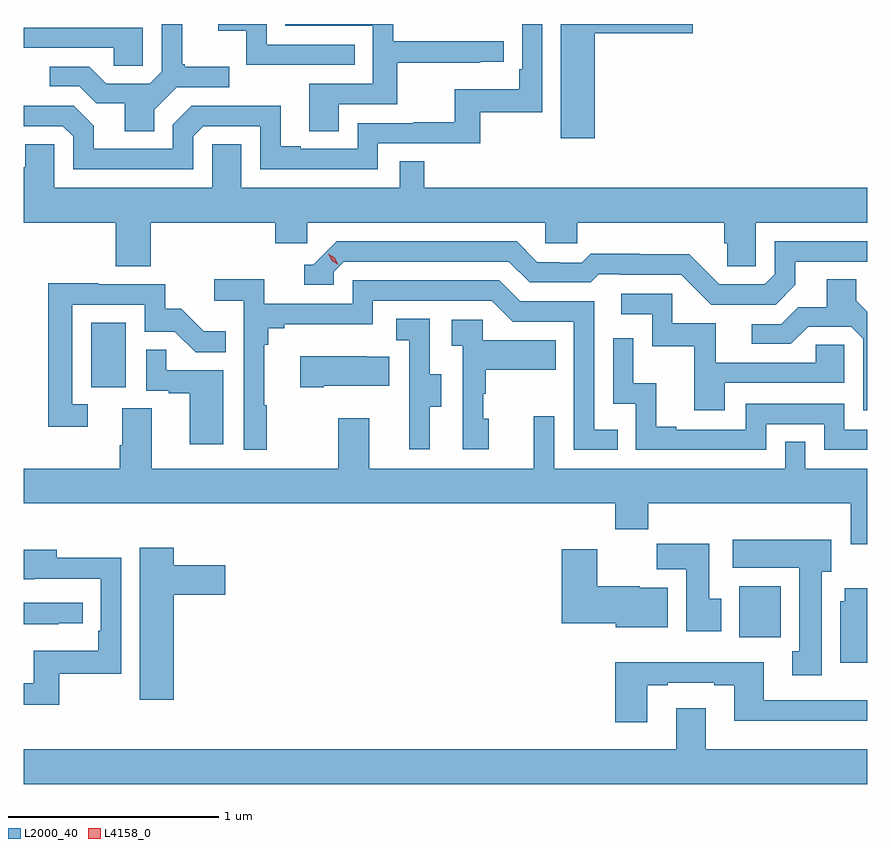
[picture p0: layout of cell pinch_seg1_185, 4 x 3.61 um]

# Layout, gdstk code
import gdstk
lib = gdstk.Library(unit=1e-6, precision=1e-09)
def R(c, l, rs):  # rectangles x0, y0, x1, y1
    for r in rs: c.add(gdstk.rectangle(r[:2], r[2:], *l))
def P(c, l, *ps):  # polygons
    for p in ps: c.add(gdstk.Polygon(p, *l))
L2000_40 = (2000, 40)
L4158_0 = (4158, 0)

pinch_seg1_185 = lib.new_cell('pinch_seg1_185')
R(pinch_seg1_185, L2000_40, [(1117.445,557.756,1117.642,557.998), (1114.37,558.942,1114.534,559.249)])
P(pinch_seg1_185, L2000_40, [(1114.669,560.26),(1114.776,560.367),(1115.026,560.367),(1115.026,560.464),(1114.813,560.464),(1114.813,560.476),(1114.801,560.476),(1114.801,560.666),(1114.704,560.666),(1114.704,560.439),(1114.647,560.382),(1114.441,560.382),(1114.36,560.463),(1114.173,560.463),(1114.173,560.37),(1114.314,560.37),(1114.394,560.29),(1114.529,560.29),(1114.529,560.158),(1114.669,560.158)],
  [(1115.621,560.568),(1115.202,560.568),(1115.202,560.666),(1114.973,560.666),(1114.973,560.633),(1115.106,560.633),(1115.106,560.472),(1115.621,560.472)],
  [(1115.545,560.286),(1115.822,560.286),(1115.822,560.482),(1116.215,560.482),(1116.215,560.487),(1116.328,560.487),(1116.328,560.583),(1115.802,560.583),(1115.802,560.666),(1115.29,560.666),(1115.29,560.658),(1115.706,560.658),(1115.706,560.382),(1115.405,560.382),(1115.405,560.158),(1115.545,560.158)],
  [(1114.854,560.133),(1114.902,560.181),(1115.172,560.181),(1115.172,559.977),(1115.73,559.977),(1115.73,560.1),(1116.217,560.1),(1116.217,560.247),(1116.51,560.247),(1116.51,560.666),(1116.414,560.666),(1116.414,560.452),(1116.401,560.452),(1116.401,560.356),(1116.096,560.356),(1116.096,560.201),(1115.899,560.201),(1115.899,560.196),(1115.634,560.196),(1115.634,560.073),(1115.365,560.073),(1115.365,560.086),(1115.269,560.086),(1115.269,560.279),(1115.064,560.279),(1115.064,560.277),(1114.848,560.277),(1114.758,560.187),(1114.758,560.073),(1114.381,560.073),(1114.381,560.183),(1114.287,560.277),(1114.051,560.277),(1114.051,560.181),(1114.236,560.181),(1114.284,560.133),(1114.284,559.977),(1114.854,559.977)],
  [(1116.76,560.621),(1117.225,560.621),(1117.225,560.666),(1116.599,560.666),(1116.599,560.124),(1116.76,560.124)],
  [(1114.614,560.649),(1114.051,560.649),(1114.051,560.553),(1114.477,560.553),(1114.477,560.469),(1114.614,560.469)],
  [(1114.652,559.724),(1115.243,559.724),(1115.243,559.626),(1115.394,559.626),(1115.394,559.724),(1116.525,559.724),(1116.525,559.626),(1116.675,559.626),(1116.675,559.724),(1117.373,559.724),(1117.373,559.626),(1117.387,559.626),(1117.387,559.516),(1117.524,559.516),(1117.524,559.724),(1118.051,559.724),(1118.051,559.888),(1115.951,559.888),(1115.951,560.015),(1115.835,560.015),(1115.835,559.888),(1115.083,559.888),(1115.083,560.096),(1114.944,560.096),(1114.944,559.888),(1114.194,559.888),(1114.194,560.096),(1114.057,560.096),(1114.057,559.986),(1114.051,559.986),(1114.051,559.724),(1114.487,559.724),(1114.487,559.516),(1114.652,559.516)],
  [(1117.711,559.429),(1117.711,559.539),(1118.051,559.539),(1118.051,559.635),(1117.614,559.635),(1117.614,559.479),(1117.566,559.431),(1117.35,559.431),(1117.208,559.573),(1116.972,559.573),(1116.972,559.576),(1116.739,559.576),(1116.697,559.533),(1116.594,559.533),(1116.594,559.536),(1116.487,559.536),(1116.388,559.635),(1115.535,559.635),(1115.424,559.524),(1115.381,559.524),(1115.381,559.428),(1115.52,559.428),(1115.52,559.491),(1115.568,559.539),(1116.351,559.539),(1116.45,559.44),(1116.739,559.44),(1116.778,559.479),(1116.877,559.479),(1116.877,559.476),(1117.17,559.476),(1117.311,559.335),(1117.617,559.335)],
  [(1115.203,558.857),(1115.191,558.857),(1115.191,559.145),(1115.21,559.145),(1115.21,559.222),(1115.287,559.222),(1115.287,559.241),(1115.706,559.241),(1115.706,559.353),(1116.27,559.353),(1116.369,559.254),(1116.66,559.254),(1116.66,558.645),(1116.869,558.645),(1116.869,558.741),(1116.756,558.741),(1116.756,559.35),(1116.406,559.35),(1116.307,559.449),(1115.61,559.449),(1115.61,559.338),(1115.192,559.338),(1115.192,559.454),(1114.953,559.454),(1114.953,559.352),(1115.094,559.352),(1115.094,558.645),(1115.203,558.645)],
  [(1118.051,559.3),(1117.999,559.352),(1117.999,559.454),(1117.859,559.454),(1117.859,559.322),(1117.724,559.322),(1117.644,559.242),(1117.503,559.242),(1117.503,559.149),(1117.69,559.149),(1117.771,559.23),(1117.977,559.23),(1118.034,559.173),(1118.034,558.834),(1118.051,558.834)],
  [(1114.354,558.861),(1114.281,558.861),(1114.281,559.335),(1114.623,559.335),(1114.623,559.206),(1114.767,559.206),(1114.865,559.108),(1115.009,559.108),(1115.009,559.207),(1114.905,559.207),(1114.798,559.314),(1114.722,559.314),(1114.722,559.431),(1114.403,559.431),(1114.403,559.436),(1114.165,559.436),(1114.165,558.756),(1114.354,558.756)],
  [(1117.375,558.963),(1117.944,558.963),(1117.944,559.143),(1117.807,559.143),(1117.807,559.059),(1117.333,559.059),(1117.333,559.245),(1117.128,559.245),(1117.128,559.386),(1116.885,559.386),(1116.885,559.29),(1117.032,559.29),(1117.032,559.137),(1117.231,559.137),(1117.231,558.834),(1117.375,558.834)],
  [(1115.977,558.85),(1116.031,558.85),(1116.031,559.005),(1115.976,559.005),(1115.976,559.268),(1115.817,559.268),(1115.817,559.165),(1115.88,559.165),(1115.88,558.861),(1115.879,558.861),(1115.879,558.648),(1115.977,558.648)],
  [(1116.256,558.792),(1116.231,558.792),(1116.231,558.911),(1116.241,558.911),(1116.241,559.025),(1116.575,559.025),(1116.575,559.165),(1116.228,559.165),(1116.228,559.263),(1116.081,559.263),(1116.081,559.139),(1116.132,559.139),(1116.132,558.648),(1116.256,558.648)],
  [(1117.572,558.768),(1117.848,558.768),(1117.848,558.645),(1118.051,558.645),(1118.051,558.741),(1117.944,558.741),(1117.944,558.864),(1117.476,558.864),(1117.476,558.741),(1117.147,558.741),(1117.147,558.754),(1117.052,558.754),(1117.052,558.962),(1116.942,558.962),(1116.942,559.174),(1116.846,559.174),(1116.846,558.864),(1116.954,558.864),(1116.954,558.645),(1117.572,558.645)],
  [(1114.996,559.023),(1114.727,559.023),(1114.727,559.121),(1114.632,559.121),(1114.632,558.927),(1114.739,558.927),(1114.739,558.915),(1114.838,558.915),(1114.838,558.672),(1114.996,558.672)],
  [(1115.473,558.95),(1115.783,558.95),(1115.783,559.087),(1115.675,559.087),(1115.675,559.09),(1115.361,559.09),(1115.361,558.943),(1115.473,558.943)],
  [(1118.051,558.556),(1117.758,558.556),(1117.758,558.683),(1117.662,558.683),(1117.662,558.556),(1116.567,558.556),(1116.567,558.805),(1116.47,558.805),(1116.47,558.556),(1115.689,558.556),(1115.689,558.796),(1115.542,558.796),(1115.542,558.556),(1114.657,558.556),(1114.657,558.842),(1114.517,558.842),(1114.517,558.668),(1114.505,558.668),(1114.505,558.556),(1114.051,558.556),(1114.051,558.392),(1116.857,558.392),(1116.857,558.268),(1117.013,558.268),(1117.013,558.392),(1117.973,558.392),(1117.973,558.198),(1118.051,558.198)],
  [(1117.837,558.066),(1117.882,558.066),(1117.882,558.22),(1117.413,558.22),(1117.413,558.086),(1117.73,558.086),(1117.73,557.69),(1117.697,557.69),(1117.697,557.577),(1117.837,557.577)],
  [(1117.36,557.94),(1117.303,557.94),(1117.303,558.199),(1117.054,558.199),(1117.054,558.08),(1117.193,558.08),(1117.193,557.784),(1117.36,557.784)],
  [(1114.762,557.957),(1115.005,557.957),(1115.005,558.099),(1114.762,558.099),(1114.762,558.181),(1114.601,558.181),(1114.601,557.46),(1114.762,557.46)],
  [(1117.105,557.992),(1116.972,557.992),(1116.972,557.998),(1116.772,557.998),(1116.772,558.175),(1116.602,558.175),(1116.602,557.822),(1116.858,557.822),(1116.858,557.804),(1117.105,557.804)],
  [(1114.219,557.583),(1114.512,557.583),(1114.512,558.134),(1114.207,558.134),(1114.207,558.172),(1114.051,558.172),(1114.051,558.032),(1114.103,558.032),(1114.103,558.033),(1114.416,558.033),(1114.416,557.788),(1114.403,557.788),(1114.403,557.692),(1114.098,557.692),(1114.098,557.537),(1114.051,557.537),(1114.051,557.436),(1114.219,557.436)],
  [(1118.051,557.989),(1117.946,557.989),(1117.946,557.928),(1117.925,557.928),(1117.925,557.636),(1118.051,557.636)],
  [(1114.217,557.823),(1114.33,557.823),(1114.33,557.919),(1114.051,557.919),(1114.051,557.818),(1114.217,557.818)],
  [(1117.009,557.529),(1117.105,557.529),(1117.105,557.541),(1117.325,557.541),(1117.325,557.529),(1117.421,557.529),(1117.421,557.36),(1118.051,557.36),(1118.051,557.457),(1117.561,557.457),(1117.561,557.638),(1116.857,557.638),(1116.857,557.352),(1117.009,557.352)],
  [(1118.051,557.224),(1117.285,557.224),(1117.285,557.419),(1117.145,557.419),(1117.145,557.224),(1114.051,557.224),(1114.051,557.06),(1118.051,557.06)])
P(pinch_seg1_185, L4158_0, [(1115.542,559.523),(1115.511,559.543),(1115.495,559.576),(1115.495,559.576),(1115.495,559.576),(1115.526,559.556),(1115.542,559.524),(1115.542,559.523)])

lib.write_gds('pinch_seg1_185.gds')
